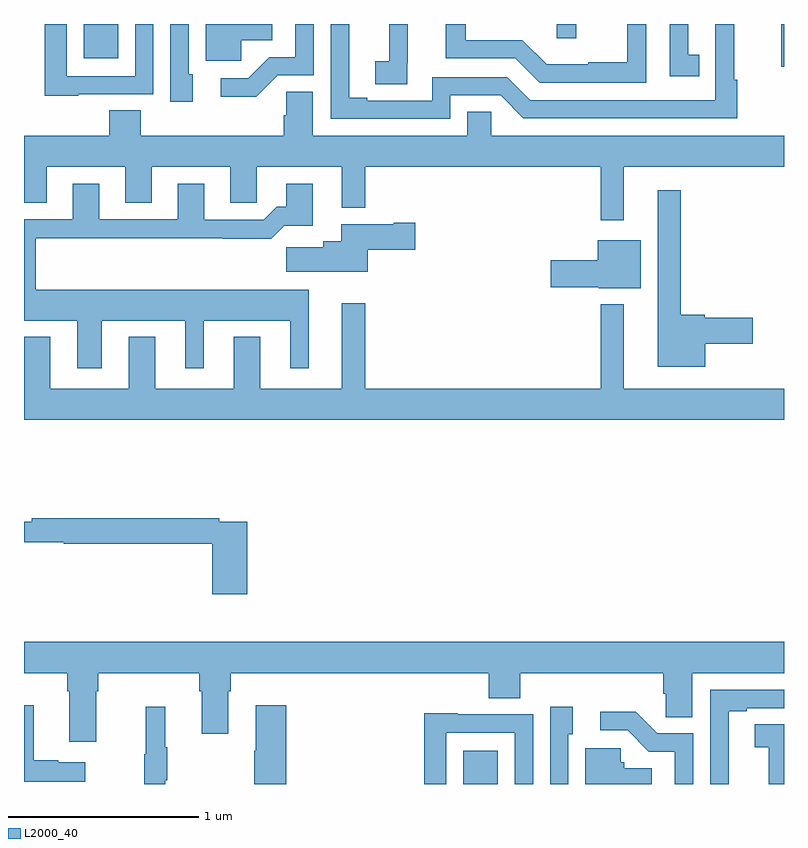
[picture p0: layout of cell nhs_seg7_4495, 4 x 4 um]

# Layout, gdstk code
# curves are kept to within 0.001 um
import gdstk
lib = gdstk.Library(unit=1e-6, precision=1e-09)
def R(c, l, rs):  # rectangles x0, y0, x1, y1
    for r in rs: c.add(gdstk.rectangle(r[:2], r[2:], *l))
def P(c, l, *ps):  # polygons
    for p in ps: c.add(gdstk.Polygon(p, *l))
L2000_40 = (2000, 40)

nhs_seg7_4495 = lib.new_cell('nhs_seg7_4495')
R(nhs_seg7_4495, L2000_40, [(395.312,1032,395.494,1032.175), (396.985,1035.774,397,1036), (393.314,1035.821,393.496,1036), (395.805,1035.924,395.906,1036)])
P(nhs_seg7_4495, L2000_40, [(396.554,1035.839),(396.496,1035.839),(396.496,1036),(396.399,1036),(396.399,1035.726),(396.554,1035.726)],
  [(396.276,1036),(396.175,1036),(396.175,1035.799),(395.969,1035.799),(395.969,1035.787),(395.75,1035.787),(395.622,1035.915),(395.326,1035.915),(395.326,1036),(395.219,1036),(395.219,1035.819),(395.586,1035.819),(395.715,1035.69),(396.276,1035.69)],
  [(393.285,1035.63),(393.681,1035.63),(393.681,1036),(393.585,1036),(393.585,1035.726),(393.225,1035.726),(393.225,1036),(393.109,1036),(393.109,1035.623),(393.285,1035.623)],
  [(394.143,1035.914),(394.306,1035.914),(394.306,1036),(393.956,1036),(393.956,1035.807),(394.143,1035.807)],
  [(393.889,1035.735),(393.867,1035.735),(393.867,1036),(393.771,1036),(393.771,1035.591),(393.889,1035.591)],
  [(395.244,1035.624),(395.508,1035.624),(395.628,1035.504),(396.755,1035.504),(396.755,1035.707),(396.738,1035.707),(396.738,1036),(396.638,1036),(396.639,1035.6),(395.664,1035.6),(395.544,1035.72),(395.148,1035.72),(395.148,1035.597),(394.807,1035.597),(394.807,1035.612),(394.711,1035.612),(394.711,1036),(394.614,1036),(394.614,1035.501),(395.244,1035.501)],
  [(395.018,1035.793),(395.02,1035.793),(395.02,1036),(394.922,1036),(394.922,1035.804),(394.848,1035.804),(394.848,1035.682),(395.018,1035.682)],
  [(394.335,1035.729),(394.524,1035.729),(394.524,1036),(394.428,1036),(394.428,1035.825),(394.29,1035.825),(394.179,1035.714),(394.035,1035.714),(394.035,1035.617),(394.222,1035.617)],
  [(396.157,1035.248),(397,1035.248),(397,1035.412),(395.46,1035.412),(395.46,1035.539),(395.333,1035.539),(395.333,1035.412),(394.519,1035.412),(394.519,1035.644),(394.38,1035.644),(394.38,1035.521),(394.367,1035.521),(394.367,1035.412),(393.614,1035.412),(393.614,1035.545),(393.449,1035.545),(393.449,1035.412),(393,1035.412),(393,1035.058),(393.121,1035.058),(393.121,1035.248),(393.533,1035.248),(393.533,1035.058),(393.673,1035.058),(393.673,1035.248),(394.085,1035.248),(394.085,1035.058),(394.224,1035.058),(394.224,1035.248),(394.673,1035.248),(394.673,1035.032),(394.795,1035.032),(394.795,1035.248),(396.036,1035.248),(396.036,1034.967),(396.157,1034.967)],
  [(393.409,1034.438),(393.848,1034.438),(393.848,1034.187),(393.946,1034.187),(393.946,1034.438),(394.4,1034.438),(394.4,1034.187),(394.498,1034.187),(394.498,1034.602),(393.061,1034.602),(393.061,1034.872),(394.045,1034.872),(394.045,1034.87),(394.301,1034.87),(394.37,1034.939),(394.519,1034.939),(394.519,1035.16),(394.379,1035.16),(394.379,1035.037),(394.33,1035.037),(394.263,1034.97),(393.949,1034.97),(393.949,1035.16),(393.809,1035.16),(393.809,1034.973),(393.397,1034.973),(393.397,1035.16),(393.257,1035.16),(393.257,1034.973),(393,1034.973),(393,1034.438),(393.281,1034.438),(393.281,1034.187),(393.409,1034.187)],
  [(396.586,1034.318),(396.835,1034.318),(396.835,1034.453),(396.582,1034.453),(396.582,1034.471),(396.457,1034.471),(396.457,1035.124),(396.335,1035.124),(396.335,1034.195),(396.586,1034.195)],
  [(394.81,1034.813),(395.059,1034.813),(395.059,1034.955),(394.946,1034.955),(394.946,1034.947),(394.67,1034.947),(394.67,1034.857),(394.574,1034.857),(394.574,1034.825),(394.38,1034.825),(394.38,1034.696),(394.81,1034.696)],
  [(396.247,1034.863),(396.02,1034.863),(396.02,1034.757),(395.772,1034.757),(395.772,1034.615),(396.024,1034.615),(396.024,1034.609),(396.247,1034.609)],
  [(397,1034.08),(396.157,1034.08),(396.157,1034.524),(396.036,1034.524),(396.036,1034.08),(394.795,1034.08),(394.795,1034.53),(394.673,1034.53),(394.673,1034.08),(394.243,1034.08),(394.243,1034.353),(394.103,1034.353),(394.103,1034.08),(393.691,1034.08),(393.691,1034.353),(393.551,1034.353),(393.551,1034.08),(393.139,1034.08),(393.139,1034.353),(393,1034.353),(393,1033.916),(397,1033.916)],
  [(394.175,1033.38),(394.028,1033.38),(394.028,1033.4),(393.04,1033.4),(393.04,1033.381),(393,1033.381),(393,1033.272),(393.208,1033.272),(393.208,1033.264),(393.992,1033.264),(393.992,1032.999),(394.175,1032.999)],
  [(393.379,1032.488),(393.392,1032.488),(393.392,1032.584),(393.923,1032.584),(393.923,1032.488),(393.935,1032.488),(393.935,1032.264),(394.075,1032.264),(394.075,1032.488),(394.088,1032.488),(394.088,1032.584),(395.447,1032.584),(395.447,1032.451),(395.612,1032.451),(395.612,1032.584),(396.365,1032.584),(396.365,1032.475),(396.378,1032.475),(396.378,1032.352),(396.517,1032.352),(396.517,1032.584),(397,1032.584),(397,1032.748),(393,1032.748),(393,1032.584),(393.227,1032.584),(393.227,1032.488),(393.239,1032.488),(393.239,1032.222),(393.379,1032.222)],
  [(396.709,1032.384),(396.805,1032.384),(396.805,1032.399),(397,1032.399),(397,1032.495),(396.612,1032.495),(396.612,1032),(396.709,1032)],
  [(393.322,1032.115),(393.179,1032.115),(393.179,1032.125),(393.052,1032.125),(393.052,1032.415),(393,1032.415),(393,1032.011),(393.322,1032.011)],
  [(394.379,1032.415),(394.22,1032.415),(394.22,1032.176),(394.213,1032.176),(394.213,1032),(394.379,1032)],
  [(393.743,1032.019),(393.754,1032.019),(393.754,1032.193),(393.743,1032.193),(393.743,1032.406),(393.64,1032.406),(393.64,1032.156),(393.633,1032.156),(393.633,1032),(393.743,1032)],
  [(395.865,1032.261),(395.887,1032.261),(395.887,1032.406),(395.769,1032.406),(395.769,1032),(395.865,1032)],
  [(396.522,1032.267),(396.333,1032.267),(396.22,1032.38),(396.033,1032.38),(396.033,1032.282),(396.177,1032.282),(396.288,1032.171),(396.426,1032.171),(396.426,1032),(396.522,1032)],
  [(395.223,1032.27),(395.583,1032.27),(395.583,1032),(395.679,1032),(395.679,1032.366),(395.283,1032.366),(395.283,1032.373),(395.107,1032.373),(395.107,1032),(395.223,1032)],
  [(397,1032.314),(396.846,1032.314),(396.846,1032.193),(396.92,1032.193),(396.92,1032),(397,1032)],
  [(396.304,1032.082),(396.16,1032.082),(396.16,1032.114),(396.141,1032.114),(396.141,1032.189),(395.954,1032.189),(395.954,1032),(396.304,1032)])

lib.write_gds('nhs_seg7_4495.gds')
